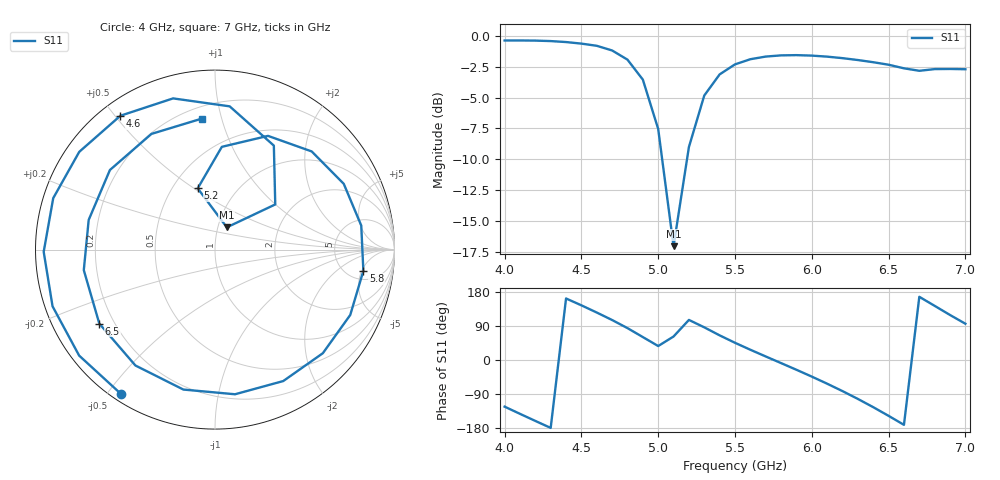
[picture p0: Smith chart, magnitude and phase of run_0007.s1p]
! Touchstone file exported from HFSS 2024.2.0
!  File:  C:/Users/wsak9/Desktop/Sim Fast/Widenad Patch/WP_AI_V1_sweep.aedt
!  Generated:  03:00:42 PM Oct 13, 2026
!  Design:  A1_model
!  Project:  WP_AI_V1_sweep
!  Setup:  Setup1
!  Solution:  Sweep
! Variables:
!  Air_gap = 1.68mm
!  Curve_Amp1 = 1.82
!  Curve_len1 = 1
!  Curve_pos = 10.745mm
!  Extra = 4.92mm
!  H_sub = 0.79mm
!  L_Patch = 17.49mm
!  L_Patch1 = 13.15mm
!  Sx = 1.15mm
!  Sy = 1.49mm
!  WS = 1.32mm
!  W_Patch = 21.48mm
!  W_Patch1 = 8.23mm
!Data is not renormalized
# GHz S MA
! Terminal data exported
! Port[1] = 1
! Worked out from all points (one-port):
!   31 points, 4 GHz to 7 GHz, reference per port
!   lowest |S11| = -17.1 dB at 5.1 GHz (marker M1), VSWR 1.33
!   |S11| at or under -10 dB: 5.026 GHz to 5.188 GHz (161.8 MHz wide, 3.17 % of centre)
!   S11 on the Smith chart (normalised r, x): 4 GHz: 0.03, -0.54; 4.6 GHz: 0.06, +0.52; 5.2 GHz: 0.66, +0.52; 5.8 GHz: 6.86, -5.37; 6.5 GHz: 0.14, -0.29; 7 GHz: 0.27, +0.87
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4  0.9597 -123.1
4.1  0.96 -142.1
4.2  0.9586 -160.8
4.3  0.9545 -179.3
4.4  0.9458 162.4
4.6  0.9133 125.3
4.7  0.8742 105.5
4.8  0.8023 84.1
4.9  0.6657 60.5
5  0.4195 36.8
5.1  0.1403 62.0
5.2  0.3546 105.8
5.3  0.5738 86.2
5.4  0.699 65.0
5.5  0.7677 45.4
5.7  0.8258 9.3
5.8  0.8351 -8.2
5.9  0.8369 -25.8
6.1  0.8252 -62.6
6.2  0.8137 -82.1
6.3  0.7994 -102.7
6.4  0.7833 -124.5
6.5  0.7651 -147.4
6.6  0.7399 -171.1
6.7  0.7229 166.8
6.8  0.7345 142.9
6.9  0.7355 118.8
7  0.7335 95.7
